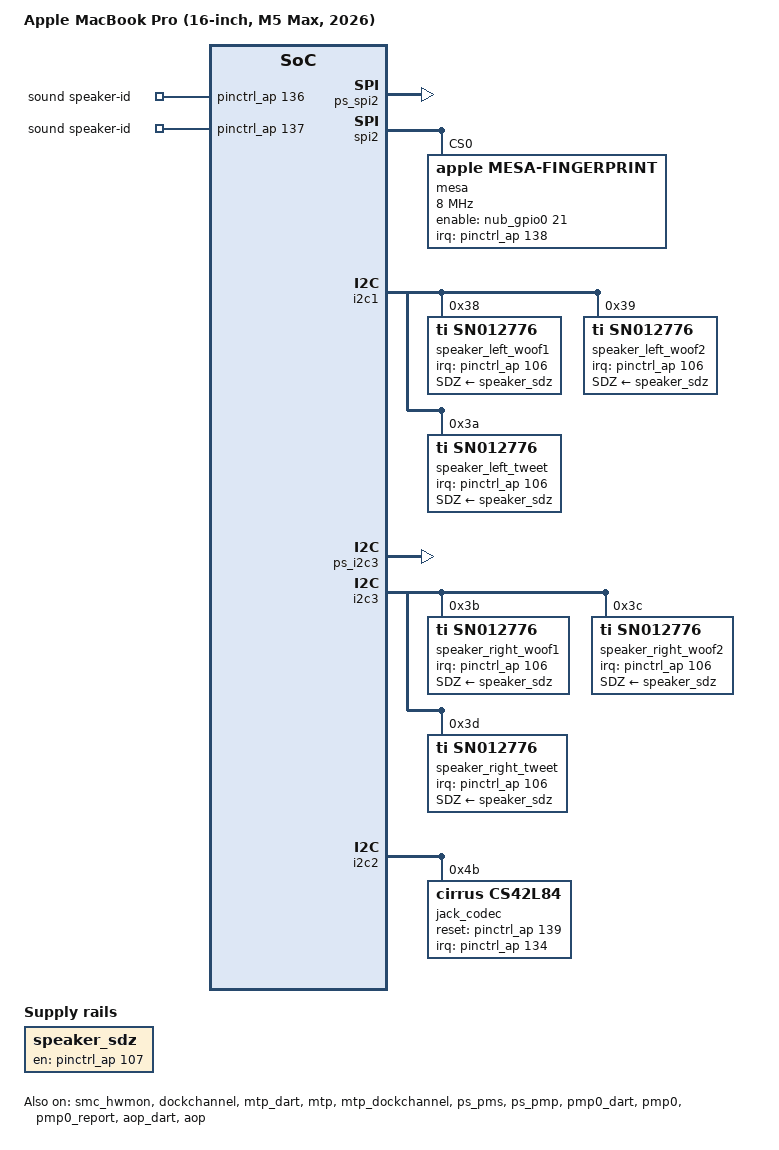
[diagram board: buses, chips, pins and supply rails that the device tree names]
// SPDX-License-Identifier: GPL-2.0+ OR MIT
/*
 * MacBook Pro (16-inch, M5 Max, 2026)
 *
 * target-type: J716c
 *
 * The M5 Max is one T6050 die, die 0 (t6050-max.dtsi). This file enables
 * and configures what has been brought up on this board; the SoC's other
 * ports and buses stay disabled until each is described for it.
 *
 * Copyright The Asahi Linux Contributors
 */

/dts-v1/;

#define T6050_J716C
/* ADT /arm-io/acio2: the right port's USB4/Thunderbolt router */
#define T6050_ATC2_USB4_ROUTER
#include "t6050-max.dtsi"
#include "hwmon-fan-dual.dtsi"

/ {
	compatible = "apple,j716c", "apple,t6050", "apple,arm-platform";
	model = "Apple MacBook Pro (16-inch, M5 Max, 2026)";
	chassis-type = "laptop";

	aliases {
		serial0 = &dockchannel;
		/* kboot fills the N1's factory addresses from /chosen through these */
		wifi0 = &n1_alpha;
		bluetooth0 = &n1_beta;
	};

	/* GPU aperture; its PMGR and coprocessors are described below. */
	j716c_gpu_bus: soc@2300000000 {
		compatible = "simple-bus";
		#address-cells = <2>;
		#size-cells = <2>;
		ranges = <0x23 0x0 0x23 0x0 0x0 0x4000000>;
		interrupt-parent = <&aic>;
		nonposted-mmio;
	};

	chosen {
		#address-cells = <2>;
		#size-cells = <2>;
		ranges;

		framebuffer0: framebuffer@0 {
			compatible = "apple,simple-framebuffer", "simple-framebuffer";
			reg = <0 0 0 0>; /* To be filled by the loader */
			/* Format properties will be added by the loader */
			/* Scanned out by the internal DCP, handed off or not. */
			display = <&dcp>;
			status = "disabled";
		};
	};
};

/*
 * PCIe port 0: the N1 (Wi-Fi and Bluetooth), the only GP port this board uses besides the SD
 * reader on port 1 (not yet described). The boot loader trains the link after the SMC releases
 * the N1's reset and keeps power, clocks, the PHY and PERST; Linux owns the routing, MSI and
 * the DART. Disabled with its DART until the boot loader trains it, which also renumbers the
 * bus here to the PCI core's order.
 */
&pcie0 {
	reg = <0x1c 0xb0000000 0x0 0x10000000>,
	      <0x4 0x14000000 0x0 0x4000>,
	      <0x4 0x10028000 0x0 0x8000>,
	      <0x4 0x17010000 0x0 0x4000>,
	      <0x4 0x10024000 0x0 0x4000>;
	reg-names = "config", "rc", "port0", "phy0", "intr2axi0";
	interrupts = <AIC_IRQ 0 1523 IRQ_TYPE_LEVEL_HIGH>;
	interrupt-names = "port0";

	/* The N1's three functions are on DART streams 1-3 */
	iommu-map = <0x100 &dart_apcie0 1 3>;
	bus-range = <0 4>;

	port00: pci@0,0 {
		device_type = "pci";
		reg = <0x0 0 0 0 0>;
		bus-range = <1 1>;
		apple,link-trained-by-bootloader;
		/* PERST#, driven only by the root-port reset after the N1's ROM stage */
		reset-gpios = <&pinctrl_ap 80 GPIO_ACTIVE_LOW>;
		status = "disabled";

		#address-cells = <3>;
		#size-cells = <2>;
		ranges;

		interrupt-controller;
		#interrupt-cells = <1>;
		interrupt-map-mask = <0 0 0 7>;
		interrupt-map = <0 0 0 1 &port00 0 0 0 0>,
				<0 0 0 2 &port00 0 0 0 1>,
				<0 0 0 3 &port00 0 0 0 2>,
				<0 0 0 4 &port00 0 0 0 3>;

		/* platform ID (board 0x0e << 16) | chip 0x6050 */
		n1_control: control@0,0 {
			compatible = "pci106b,1900";
			reg = <0x10000 0x0 0x0 0x0 0x0>;
			firmware-name = "apple/centauri/j716c-ftab.bin";
			apple,centauri-platform-id = <0x000e6050>;
			apple,centauri-protocol = <27>;
		};

		n1_alpha: wifi@0,1 {
			compatible = "pci106b,1902";
			reg = <0x10100 0x0 0x0 0x0 0x0>;
			local-mac-address = [00 00 00 00 00 00];
		};

		n1_beta: bluetooth@0,2 {
			compatible = "pci106b,1903";
			reg = <0x10200 0x0 0x0 0x0 0x0>;
			local-bd-address = [00 00 00 00 00 00];
		};
	};
};

/* ATC1, ATC3 and the PD controller buses nub-spmi-a0 and -a2: not yet described for this board */
&nub_spmi_a0 {
	status = "disabled";
};

&nub_spmi_a2 {
	status = "disabled";
};

&atc1_phy_mbox {
	status = "disabled";
};

&atc1_phy {
	status = "disabled";
};

&usb_drd1 {
	status = "disabled";
};

&usb_drd1_dart_0 {
	status = "disabled";
};

&usb_drd1_dart_1 {
	status = "disabled";
};

&atc3_phy_mbox {
	status = "disabled";
};

&atc3_phy {
	status = "disabled";
};

&usb_drd3 {
	status = "disabled";
};

&usb_drd3_dart_0 {
	status = "disabled";
};

&usb_drd3_dart_1 {
	status = "disabled";
};

/*
 * Pin 112's register (0x29c0001c0) takes an SError when read, so only the pins a node
 * here names are exposed: 80 (PCIe port 0's PERST#, ADT pci-bridge0 function-perst),
 * 106 and 107 (the speaker amps' fault interrupt and shutdown line), 134 and 139 (the
 * jack codec's interrupt and reset), 136 and 137 (speaker ID) and 138 (the Touch ID
 * sensor's data-ready line).
 * A reserved line cannot be requested, so a node that names a new pin opens it here too.
 */
&pinctrl_ap {
	gpio-reserved-ranges = <0 80>, <81 25>, <108 26>, <135 1>, <140 81>;
};

/*
 * Inherit apple,discover-temperatures and apple,soc-die-keys ("TCMb") from
 * t6050-die0.dtsi so all readable T* float sensors are discovered and TCMb
 * supplies the macsmc_soc_die thermal zone for the GPU thermal governor.
 * T6050 spells the fan mode keys F0md/F1md and accepts manual fan targets.
 */
&smc_hwmon {
	status = "okay";

	fan-F0Ac {
		apple,fan-mode = "F0md";
		apple,fan-manual-control;
	};

	fan-F1Ac {
		apple,fan-mode = "F1md";
		apple,fan-manual-control;
	};
};

/*
 * The console is on the USB debug link, which drains only while a host reads
 * it; the machine also boots with nothing attached there.
 */
&dockchannel {
	apple,tx-never-wait;
	status = "okay";
};

/* The MTP and its DockChannel FIFO, which carry the keyboard and trackpad */
&mtp_mbox {
	status = "okay";
};

&mtp_dart {
	status = "okay";
};

&mtp {
	status = "okay";
};

/* The keyboard and trackpad: the HID transport on the MTP's DockChannel FIFO */
&mtp_dockchannel {
	status = "okay";

	mtp_hid: input@8000 {
		compatible = "apple,dockchannel-hid";
		reg = <0x8000 0x1000>, <0xc000 0x1000>,
		      <0x0 0x1000>, <0x4000 0x1000>;
		reg-names = "config", "data", "rmt-config", "rmt-data";
		iommus = <&mtp_dart 0>;
		interrupt-parent = <&mtp_dockchannel>;
		interrupts = <2 IRQ_TYPE_LEVEL_HIGH>,
			     <3 IRQ_TYPE_LEVEL_HIGH>;
		interrupt-names = "tx", "rx";
		apple,fifo-size = <0x800>;
		apple,helper-cpu = <&mtp>;
		apple,afe-reset-gpios = <&smc_pcio 2 GPIO_ACTIVE_HIGH>;

		multi-touch {
			apple,power-method = <2>;
			firmware-name = "apple/tpmtfw-j716c.bin";
		};

		keyboard {
		};

		stm {
		};
	};
};

/* This board's PCIO outputs, the trackpad AFE reset (2) among them */
&smc_pcio {
	apple,output-commands = /bits/ 64 <0x001a000000000000 0x000f000000800000 0x011c000000010000>;
};

#include "t6050-peripherals.dtsi"

#include "t6050-max-atc2.dtsi"

/* This unit's host DROM (router UUID from an earlier boot) */
&acio2_nhi {
	apple,thunderbolt-drom = [ff 92 e6 6e ee 18 7c ac 05 90 19 c3 8c 00 5c 00
			00 00 00 00 00 00 08 81 82 02 82 00 00 00 08 82
			92 01 82 00 00 00 03 83 20 08 84 00 00 00 00 00
			00 08 85 00 00 00 00 00 00 05 86 09 01 00 08 87
			00 00 00 00 00 00 05 88 09 01 00 05 89 09 01 00
			05 8a 09 01 00 0e 01 41 70 70 6c 65 2c 20 49 6e
			63 2e 00 06 02 69 4f 53 00 00 00 00];
};

/*
 * Touch ID (ADT spi2/mesa), wired as on the J714s: the Mesa sensor (sensor-id
 * 0x3356) at 8 MHz on chip select 0, powered by NUB GPIO 21 (function-mesa_pwr),
 * data ready on AP GPIO 138. The controller's clock (ADT clock-ids 451) is the
 * 24 MHz reference.
 */
&ps_nub_gpio {
	status = "okay";
};

&nub_gpio0 {
	status = "okay";
};

&ps_spi2 {
	status = "okay";
};

&spi2 {
	clocks = <&clkref>;
	status = "okay";

	mesa: fingerprint@0 {
		compatible = "apple,mesa-fingerprint";
		reg = <0>;
		spi-max-frequency = <8000000>;
		spi-cpol;
		spi-cs-setup-delay-ns = <20>;
		spi-cs-hold-delay-ns = <20>;
		enable-gpios = <&nub_gpio0 21 GPIO_ACTIVE_HIGH>;
		interrupt-parent = <&pinctrl_ap>;
		interrupts = <138 IRQ_TYPE_EDGE_RISING>;
		/* Per-device factory data from this Mac's own iBoot system container */
		firmware-name = "apple/mesacal-j716c.bin", "apple/msrk-j716c.bin";
	};
};

#include "t6050-j716c-isp.dtsi"
#include "t6050-j716c-gpu-panel.dtsi"

#include "t6050-j716c-display.dtsi"
#include "t6050-j716c-left-usb4.dtsi"
#include "t6050-j716c-sep.dtsi"

#include "t6050-j716c-sleep.dtsi"
#include "t6050-j716c-sleep-full.dtsi"

/*
 * The Neural Engine, started only after the boot loader's preload hand-off.
 * ANE_SYS sits behind FAB8_SOC (kept on for the SEP above) and FAB9_SOC (on for
 * the camera).
 */
#include "t6050-j714s-ane.dtsi"

/* The port controllers follow the sleep's command rules (tipd: woken first, read at intervals) */
&hpm0 {
	apple,sleep-ssps-rules;
};

&hpm1 {
	apple,sleep-ssps-rules;
};

&hpm2 {
	apple,sleep-ssps-rules;
};

&hpm5 {
	apple,sleep-ssps-rules;
};

/*
 * The PMP (ADT pmp0): iBoot loads its firmware and the boot loader fills
 * apple,board-id, apple,dram-vendor-id, apple,pmc, apple,pmc-pmgr, and
 * apple,tunable-* from the running machine's ADT onto pmp0. The AOP's audio
 * firmware requires the PMP to bring up its LEAP power domains so the audio
 * controller reaches systemReady.
 */
&ps_pms {
	status = "okay";
};

&ps_pmp {
	status = "okay";
};

&ps_pms_sram {
	status = "okay";
};

&pmp0_dart {
	status = "okay";
};

&pmp0_mbox {
	status = "okay";
};

&pmp0 {
	status = "okay";
};

&pmp0_report {
	status = "okay";
};

&pmc {
	/* PMP, CLPC and AP agents, once the PMP runs */
	apple,static-voters = <0 1 3>;
	apple,pmp = <&pmp0>;
};

/*
 * Sound through the AOP, as on J714s: its audio service runs the serializers, the
 * CS42L84 headphone jack on admac-base-ns TX2/RX2 and the six SN012776 speaker amps
 * on TX0, their voltage and current sense on RX0 (ADT iop-audio-controller).
 *
 * The amps (ADT /arm-io/i2c1/audio-speaker* and /arm-io/i2c3/audio-speaker*) share
 * one shutdown line, AP pin 107 (function-reset of the first), and one fault
 * interrupt, pin 106. The ADT's speaker-config gives amp N playback slot N, its
 * voltage sense in slot 4N and current sense in 4N+2, in the order of the first
 * amp's speakerN: left woofer 1, right woofer 1, left woofer 2, right woofer 2,
 * left tweeter, right tweeter. The firmware's speaker frame is 250 BCLKs of 12 MHz
 * (ADT audio-speaker stream), which the amps' ratio detection rejects.
 */
/ {
	speaker_sdz: regulator-sn012776-sdz {
		compatible = "regulator-fixed";
		regulator-name = "sn012776-sdz";
		gpios = <&pinctrl_ap 107 GPIO_ACTIVE_HIGH>;
		enable-active-high;
	};
};

&i2c1 {
	status = "okay";

	speaker_left_woof1: codec@38 {
		compatible = "ti,sn012776", "ti,tas2764";
		reg = <0x38>;
		SDZ-supply = <&speaker_sdz>;
		apple,sdz-group-fail-closed;
		#sound-dai-cells = <0>;
		sound-name-prefix = "Left Woofer 1";
		interrupts-extended = <&pinctrl_ap 106 IRQ_TYPE_LEVEL_LOW>;
		ti,imon-slot-no = <2>;
		ti,vmon-slot-no = <0>;
		ti,bclk-ratio = <250>;
	};

	speaker_left_woof2: codec@39 {
		compatible = "ti,sn012776", "ti,tas2764";
		reg = <0x39>;
		SDZ-supply = <&speaker_sdz>;
		apple,sdz-group-fail-closed;
		#sound-dai-cells = <0>;
		sound-name-prefix = "Left Woofer 2";
		interrupts-extended = <&pinctrl_ap 106 IRQ_TYPE_LEVEL_LOW>;
		ti,imon-slot-no = <10>;
		ti,vmon-slot-no = <8>;
		ti,bclk-ratio = <250>;
	};

	speaker_left_tweet: codec@3a {
		compatible = "ti,sn012776", "ti,tas2764";
		reg = <0x3a>;
		SDZ-supply = <&speaker_sdz>;
		apple,sdz-group-fail-closed;
		#sound-dai-cells = <0>;
		sound-name-prefix = "Left Tweeter";
		interrupts-extended = <&pinctrl_ap 106 IRQ_TYPE_LEVEL_LOW>;
		ti,imon-slot-no = <18>;
		ti,vmon-slot-no = <16>;
		ti,bclk-ratio = <250>;
	};
};

/* The I2C power states have no described parent (SIO), as for i2c1 and i2c2 */
&ps_i2c3 {
	/delete-property/ power-domains;
	status = "okay";
};

&i2c3 {
	/* The ADT gives i2c1, i2c2 and i2c3 the same clock-ids (4) */
	clocks = <&clkref>;
	status = "okay";

	speaker_right_woof1: codec@3b {
		compatible = "ti,sn012776", "ti,tas2764";
		reg = <0x3b>;
		SDZ-supply = <&speaker_sdz>;
		apple,sdz-group-fail-closed;
		#sound-dai-cells = <0>;
		sound-name-prefix = "Right Woofer 1";
		interrupts-extended = <&pinctrl_ap 106 IRQ_TYPE_LEVEL_LOW>;
		ti,imon-slot-no = <6>;
		ti,vmon-slot-no = <4>;
		ti,bclk-ratio = <250>;
	};

	speaker_right_woof2: codec@3c {
		compatible = "ti,sn012776", "ti,tas2764";
		reg = <0x3c>;
		SDZ-supply = <&speaker_sdz>;
		apple,sdz-group-fail-closed;
		#sound-dai-cells = <0>;
		sound-name-prefix = "Right Woofer 2";
		interrupts-extended = <&pinctrl_ap 106 IRQ_TYPE_LEVEL_LOW>;
		ti,imon-slot-no = <14>;
		ti,vmon-slot-no = <12>;
		ti,bclk-ratio = <250>;
	};

	speaker_right_tweet: codec@3d {
		compatible = "ti,sn012776", "ti,tas2764";
		reg = <0x3d>;
		SDZ-supply = <&speaker_sdz>;
		apple,sdz-group-fail-closed;
		#sound-dai-cells = <0>;
		sound-name-prefix = "Right Tweeter";
		interrupts-extended = <&pinctrl_ap 106 IRQ_TYPE_LEVEL_LOW>;
		ti,imon-slot-no = <22>;
		ti,vmon-slot-no = <20>;
		ti,bclk-ratio = <250>;
	};
};

/*
 * The CS42L84 headphone codec (ADT /arm-io/i2c2/audio-codec-output): its reset line
 * is AP pin 139, driven high to run the codec, and its interrupt AP pin 134, level
 * low.
 */
&i2c2 {
	status = "okay";

	jack_codec: codec@4b {
		compatible = "cirrus,cs42l84";
		reg = <0x4b>;
		reset-gpios = <&pinctrl_ap 139 GPIO_ACTIVE_HIGH>;
		interrupts-extended = <&pinctrl_ap 134 IRQ_TYPE_LEVEL_LOW>;
		#sound-dai-cells = <0>;
		sound-name-prefix = "Jack";
	};
};

/ {
	sound {
		compatible = "apple,j716-macaudio", "apple,macaudio";
		model = "MacBook Pro J716";
		/* ADT audio-speaker function-speaker-id0 and -id1 */
		speaker-id-gpios = <&pinctrl_ap 136 GPIO_ACTIVE_HIGH>,
				   <&pinctrl_ap 137 GPIO_ACTIVE_HIGH>;
		#address-cells = <1>;
		#size-cells = <0>;

		dai-link@0 {
			reg = <0>;
			link-name = "Headphone Jack";

			cpu {
				sound-dai = <&aop_audio 0>;
			};

			codec {
				sound-dai = <&jack_codec>;
			};
		};

		dai-link@1 {
			reg = <1>;
			link-name = "Speaker";
			/*
			 * Codecs in ADT speaker-config order so macaudio assigns
			 * playback slots 0-5 (left channels in slots 0, 2 and 4,
			 * right in 1, 3 and 5). Each side's first amp drives zeros
			 * on the opposite side's active sense byte slots (0..23)
			 * and both include the unused upper bytes (24..31) of the
			 * 32-byte TDM frame: left woofer 1 drives zeros on right
			 * slots 4..7, 12..15, 20..23 and upper bytes 24..31
			 * (0xfff0f0f0); right woofer 1 drives zeros on left slots
			 * 0..3, 8..11, 16..19 and upper bytes 24..31 (0xff0f0f0f).
			 * Active V/I slots 0..23 remain disjoint even without a
			 * loader apple,amp-tx-zd-config override.
			 */
			dai-tdm-idle-mode-0 = "zero";
			dai-tdm-slot-tx-idle-mask-0 = <0xfff0f0f0>;
			dai-tdm-idle-mode-1 = "zero";
			dai-tdm-slot-tx-idle-mask-1 = <0xff0f0f0f>;

			cpu {
				sound-dai = <&aop_audio 3>;
			};

			codec {
				sound-dai = <&speaker_left_woof1>, <&speaker_right_woof1>,
					    <&speaker_left_woof2>, <&speaker_right_woof2>,
					    <&speaker_left_tweet>, <&speaker_right_tweet>;
			};
		};
	};
};

/* The AOP, booted through its setup port, with its sensor and audio services. */
&aop_mbox {
	status = "okay";
};

&aop_setup_mbox {
	status = "okay";
};

&aop_dart {
	status = "okay";
};

&aop {
	status = "okay";
};

/*
 * The microphone array: ADT audio-hp-mic, three microphones on leap-s RX0 through the
 * proxy ADMAC (Linux channel 1, as on J714s), captured by the AOP audio service's own card.
 */
&admac_base_ns {
	status = "okay";
};

&admac_ec_proxy {
	status = "okay";
};

&aop_audio {
	apple,chassis-name = "J716";
	apple,machine-kind = "MacBook Pro";
	dmas = <&admac_base_ns 4>, <&admac_base_ns 5>,
	       <&admac_base_ns 0>, <&admac_base_ns 1>,
	       <&admac_ec_proxy 1>;
	dma-names = "cout", "cin", "spkr", "sense", "hpai";
};
